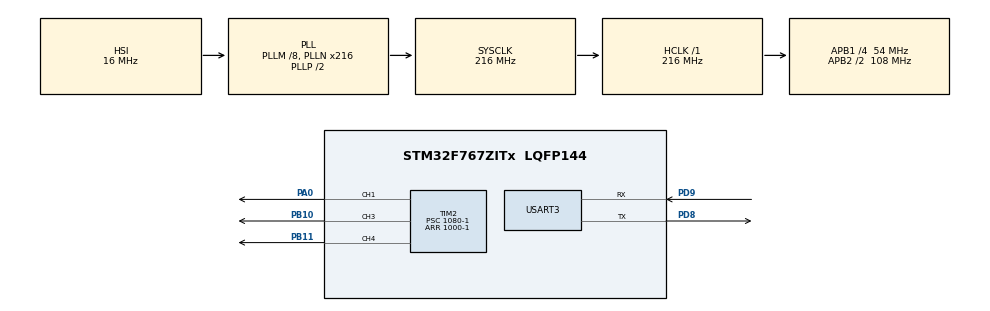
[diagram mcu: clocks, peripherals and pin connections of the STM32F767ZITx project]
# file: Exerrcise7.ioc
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Mcu.Family=STM32F7
Mcu.Name=STM32F767ZITx
Mcu.Package=LQFP144
NVIC.PriorityGroup=NVIC_PRIORITYGROUP_4
PA0/WKUP.GPIO_Speed=GPIO_SPEED_FREQ_VERY_HIGH
PA0/WKUP.Signal=S_TIM2_CH1_ETR
PB10.GPIO_Speed=GPIO_SPEED_FREQ_VERY_HIGH
PB10.Signal=S_TIM2_CH3
PB11.GPIO_Speed=GPIO_SPEED_FREQ_VERY_HIGH
PB11.Signal=S_TIM2_CH4
PD8.Mode=Asynchronous
PD8.Signal=USART3_TX
PD9.Mode=Asynchronous
PD9.Signal=USART3_RX
ProjectManager.HeapSize=0x200
ProjectManager.StackSize=0x400
ProjectManager.TargetToolchain=STM32CubeIDE
RCC.AHBFreq_Value=216000000
RCC.APB1CLKDivider=RCC_HCLK_DIV4
RCC.APB1Freq_Value=54000000
RCC.APB1TimFreq_Value=108000000
RCC.APB2CLKDivider=RCC_HCLK_DIV2
RCC.APB2Freq_Value=108000000
RCC.APB2TimFreq_Value=216000000
RCC.CortexFreq_Value=216000000
RCC.HCLKFreq_Value=216000000
RCC.HSE_VALUE=25000000
RCC.HSI_VALUE=16000000
RCC.LSE_VALUE=32768
RCC.PLLM=8
RCC.PLLN=216
RCC.SYSCLKFreq_VALUE=216000000
RCC.SYSCLKSource=RCC_SYSCLKSOURCE_PLLCLK
RCC.USBFreq_Value=216000000
RCC.VCOOutputFreq_Value=432000000
SH.S_TIM2_CH1_ETR.0=TIM2_CH1,PWM Generation1 CH1
SH.S_TIM2_CH3.0=TIM2_CH3,PWM Generation3 CH3
SH.S_TIM2_CH4.0=TIM2_CH4,PWM Generation4 CH4
TIM2.Channel-PWM\ Generation1\ CH1=TIM_CHANNEL_1
TIM2.Channel-PWM\ Generation3\ CH3=TIM_CHANNEL_3
TIM2.Channel-PWM\ Generation4\ CH4=TIM_CHANNEL_4
TIM2.Period=1000-1
TIM2.Prescaler=1080-1
TIM2.Pulse-PWM\ Generation1\ CH1=1000/4-1
TIM2.Pulse-PWM\ Generation3\ CH3=1000/4-1
TIM2.Pulse-PWM\ Generation4\ CH4=10000/4-1
USART3.VirtualMode-Asynchronous=VM_ASYNC
VP_TIM2_VS_ClockSourceINT.Mode=Internal
board=custom

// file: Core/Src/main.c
/* USER CODE BEGIN Header */
/**
  ******************************************************************************
  * @file           : main.c
  * @brief          : Main program body
  ******************************************************************************
  * @attention
  *
  * Copyright (c) 2023 STMicroelectronics.
  * All rights reserved.
  *
  * This software is licensed under terms that can be found in the LICENSE file
  * in the root directory of this software component.
  * If no LICENSE file comes with this software, it is provided AS-IS.
  *
  ******************************************************************************
  */
/* USER CODE END Header */
#include "main.h"
#include "tim.h"
#include "usart.h"
#include "gpio.h"

/* USER CODE BEGIN PV */
uint32_t Rpwm;
uint32_t Bpwm;
uint32_t Gpwm;

/* USER CODE END PV */

void SystemClock_Config(void);
static void MPU_Initialize(void);
static void MPU_Config(void);

int main(void)
{
  /* USER CODE BEGIN 1 */
	float Rd=1;
	float Bd=0;
	float Gd=0;

  /* USER CODE END 1 */

  /* MCU Configuration--------------------------------------------------------*/

  /* Reset of all peripherals, Initializes the Flash interface and the Systick. */
  HAL_Init();

  /* MPU Configuration--------------------------------------------------------*/
  MPU_Config();

  /* Configure the system clock */
  SystemClock_Config();

  /* Initialize all configured peripherals */
  MX_GPIO_Init();
  MX_TIM2_Init();
  MX_USART3_UART_Init();

  /* Infinite loop */
  /* USER CODE BEGIN WHILE */
  char ch1;
  char inputText[] = "\t input =>";

  char output[20];
  while (1)
  {
    /* USER CODE END WHILE */

    /* USER CODE BEGIN 3 */
	  HAL_UART_Transmit(&huart3, (uint8_t*) output, strlen(output), 100);
	  //
	  htim2.Instance -> CCR1 = (1000-1) * Rd;
	  htim2.Instance -> CCR3 = (1000-1) * Bd;
	  htim2.Instance -> CCR4 = (1000-1) * Gd;

	  HAL_TIM_PWM_Start(&htim2, TIM_CHANNEL_1);
	  HAL_TIM_PWM_Start(&htim2, TIM_CHANNEL_3);
	  HAL_TIM_PWM_Start(&htim2, TIM_CHANNEL_4);

	  HAL_Delay(100);
	  HAL_TIM_PWM_Stop(&htim2, TIM_CHANNEL_1);
	  HAL_TIM_PWM_Stop(&htim2, TIM_CHANNEL_3);
	  HAL_TIM_PWM_Stop(&htim2, TIM_CHANNEL_4);
	  Rpwm = (GPIOA->IDR & GPIO_PIN_0) >>0 ;
	  Bpwm = ((GPIOB->IDR & GPIO_PIN_10) >>10) +2;
	  Gpwm = ((GPIOB->IDR & GPIO_PIN_11) >>11) +4;

	  if(__HAL_UART_GET_FLAG(&huart3,UART_FLAG_RXNE) == SET) {
		  HAL_UART_Receive(&huart3,(uint8_t*) &ch1, 1, 100);
	  }

	  if(ch1 == 'r')
	  {
		  Rd += 0.2;
		  HAL_UART_Transmit(&huart3, (uint8_t*) &ch1, 1, 100);
		  HAL_Delay(100);
		  if(Rd>1.0)
		  {
			  Rd =0 ;
		  }
	  }
	  else if(ch1 == 'b')
	  {
		  Bd += 0.2;
		  HAL_UART_Transmit(&huart3, (uint8_t*) &ch1, 1, 100);
		  HAL_Delay(100);
		  if(Bd>1.0)
		  {
			  Bd =0 ;
		  }
	  }
	  else  if(ch1 == 'g')
	  {
		  Gd += 0.2;
		  HAL_UART_Transmit(&huart3, (uint8_t*) &ch1, 1, 100);
		  HAL_Delay(100);
		  if(Gd>1.0)
		  {
			  Gd =0 ;
		  }
	  }

	  ch1 = ' ';

  }
  /* USER CODE END 3 */
}

void SystemClock_Config(void)
{
  RCC_OscInitTypeDef RCC_OscInitStruct = {0};
  RCC_ClkInitTypeDef RCC_ClkInitStruct = {0};

  /** Configure the main internal regulator output voltage
  */
  __HAL_RCC_PWR_CLK_ENABLE();
  __HAL_PWR_VOLTAGESCALING_CONFIG(PWR_REGULATOR_VOLTAGE_SCALE1);

  /** Initializes the RCC Oscillators according to the specified parameters
  * in the RCC_OscInitTypeDef structure.
  */
  RCC_OscInitStruct.OscillatorType = RCC_OSCILLATORTYPE_HSI;
  RCC_OscInitStruct.HSIState = RCC_HSI_ON;
  RCC_OscInitStruct.HSICalibrationValue = RCC_HSICALIBRATION_DEFAULT;
  RCC_OscInitStruct.PLL.PLLState = RCC_PLL_ON;
  RCC_OscInitStruct.PLL.PLLSource = RCC_PLLSOURCE_HSI;
  RCC_OscInitStruct.PLL.PLLM = 8;
  RCC_OscInitStruct.PLL.PLLN = 216;
  RCC_OscInitStruct.PLL.PLLP = RCC_PLLP_DIV2;
  RCC_OscInitStruct.PLL.PLLQ = 2;
  RCC_OscInitStruct.PLL.PLLR = 2;
  if (HAL_RCC_OscConfig(&RCC_OscInitStruct) != HAL_OK)
  {
    Error_Handler();
  }

  /** Activate the Over-Drive mode
  */
  if (HAL_PWREx_EnableOverDrive() != HAL_OK)
  {
    Error_Handler();
  }

  /** Initializes the CPU, AHB and APB buses clocks
  */
  RCC_ClkInitStruct.ClockType = RCC_CLOCKTYPE_HCLK|RCC_CLOCKTYPE_SYSCLK
                              |RCC_CLOCKTYPE_PCLK1|RCC_CLOCKTYPE_PCLK2;
  RCC_ClkInitStruct.SYSCLKSource = RCC_SYSCLKSOURCE_PLLCLK;
  RCC_ClkInitStruct.AHBCLKDivider = RCC_SYSCLK_DIV1;
  RCC_ClkInitStruct.APB1CLKDivider = RCC_HCLK_DIV4;
  RCC_ClkInitStruct.APB2CLKDivider = RCC_HCLK_DIV2;

  if (HAL_RCC_ClockConfig(&RCC_ClkInitStruct, FLASH_LATENCY_7) != HAL_OK)
  {
    Error_Handler();
  }
}

/* MPU Configuration */

void MPU_Config(void)
{
  MPU_Region_InitTypeDef MPU_InitStruct = {0};

  /* Disables the MPU */
  HAL_MPU_Disable();

  /** Initializes and configures the Region and the memory to be protected
  */
  MPU_InitStruct.Enable = MPU_REGION_ENABLE;
  MPU_InitStruct.Number = MPU_REGION_NUMBER0;
  MPU_InitStruct.BaseAddress = 0x0;
  MPU_InitStruct.Size = MPU_REGION_SIZE_4GB;
  MPU_InitStruct.SubRegionDisable = 0x87;
  MPU_InitStruct.TypeExtField = MPU_TEX_LEVEL0;
  MPU_InitStruct.AccessPermission = MPU_REGION_NO_ACCESS;
  MPU_InitStruct.DisableExec = MPU_INSTRUCTION_ACCESS_DISABLE;
  MPU_InitStruct.IsShareable = MPU_ACCESS_SHAREABLE;
  MPU_InitStruct.IsCacheable = MPU_ACCESS_NOT_CACHEABLE;
  MPU_InitStruct.IsBufferable = MPU_ACCESS_NOT_BUFFERABLE;

  HAL_MPU_ConfigRegion(&MPU_InitStruct);
  /* Enables the MPU */
  HAL_MPU_Enable(MPU_PRIVILEGED_DEFAULT);

}

void Error_Handler(void)
{
  __disable_irq();
  while (1)
  {
  }
}
